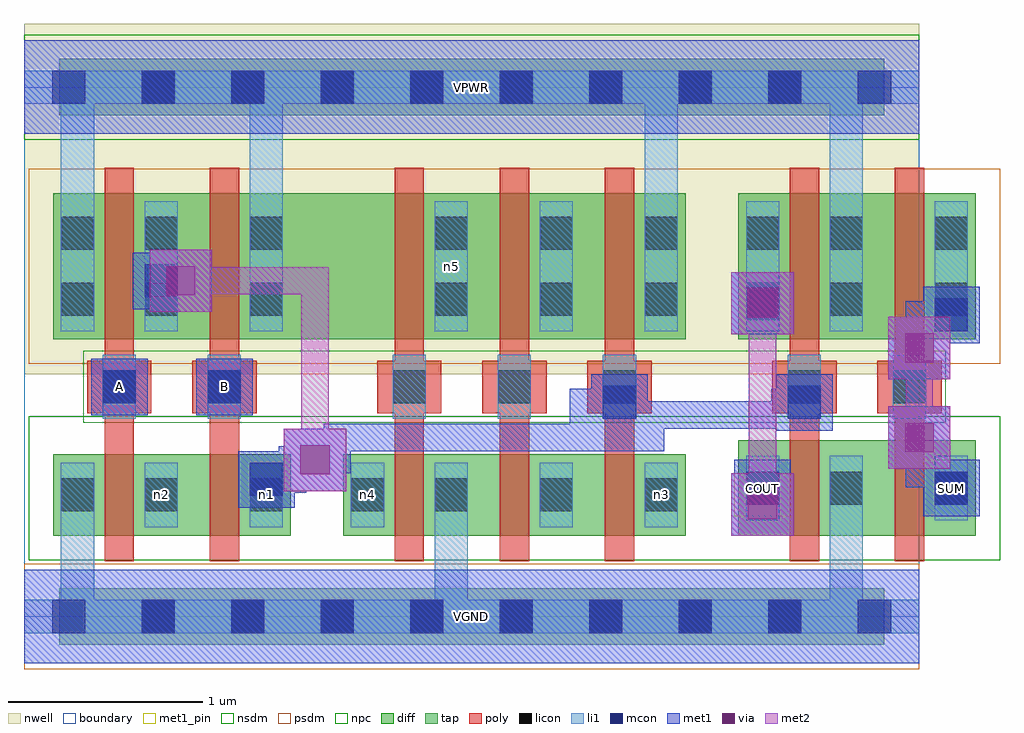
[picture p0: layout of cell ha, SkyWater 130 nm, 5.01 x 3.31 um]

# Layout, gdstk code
import gdstk
lib = gdstk.Library(unit=1e-6, precision=1e-09)
def R(c, l, rs):  # rectangles x0, y0, x1, y1
    for r in rs: c.add(gdstk.rectangle(r[:2], r[2:], *l))
def A(c, l, x, y, w, h, nx, ny, dx, dy):  # array of equal rectangles
    R(c, l, [(x+i*dx, y+j*dy, x+i*dx+w, y+j*dy+h) for i in range(nx) for j in range(ny)])
nwell = (64, 20)
diff = (65, 20)
tap = (65, 44)
poly = (66, 20)
licon = (66, 44)
li1 = (67, 20)
mcon = (67, 44)
met1_pin = (68, 16)
met1 = (68, 20)
via = (68, 44)
met2 = (69, 20)
nsdm = (93, 44)
psdm = (94, 20)
npc = (95, 20)
boundary = (235, 4)

c_ha = lib.new_cell('ha')
R(c_ha, nwell, [(0,1.245,4.6,3.045)])
R(c_ha, diff, [(0.15,0.415,1.37,0.835), (1.64,0.415,3.4,0.835), (3.67,0.415,4.89,0.905), (0.15,1.425,3.4,2.175), (3.67,1.425,4.89,2.175)])
R(c_ha, tap, [(0.18,-0.145,4.42,0.145), (0.18,2.575,4.42,2.865)])
A(c_ha, poly, 1.905, 0.285, 0.15, 2.02, 3, 1, 0.54, 0)
A(c_ha, poly, 1.815, 1.045, 0.33, 0.27, 3, 1, 0.54, 0)
R(c_ha, poly, [(0.415,0.285,0.565,2.305), (0.955,0.285,1.105,2.305), (3.935,0.285,4.085,2.305), (4.475,0.285,4.625,2.305), (0.325,1.045,0.655,1.315), (0.865,1.045,1.195,1.315), (3.845,1.045,4.175,1.315), (4.385,1.045,4.715,1.315)])
A(c_ha, licon, 0.605, -0.085, 0.17, 0.17, 8, 2, 0.46, 2.72)
A(c_ha, licon, 2.11, 0.54, 0.17, 0.17, 3, 2, 0.54, 1.005)
A(c_ha, licon, 1.895, 1.095, 0.17, 0.17, 3, 1, 0.54, 0)
A(c_ha, licon, 2.11, 1.885, 0.17, 0.17, 3, 1, 0.54, 0)
R(c_ha, licon, [(0.19,0.54,0.36,0.71), (0.62,0.54,0.79,0.71), (1.16,0.54,1.33,0.71), (1.68,0.54,1.85,0.71), (3.71,0.575,3.88,0.745), (4.14,0.575,4.31,0.745), (4.68,0.575,4.85,0.745), (0.405,1.095,0.575,1.265), (0.945,1.095,1.115,1.265), (3.925,1.095,4.095,1.265), (4.465,1.095,4.635,1.265), (0.19,1.545,0.36,1.715), (0.62,1.545,0.79,1.715), (1.16,1.545,1.33,1.715), (3.71,1.545,3.88,1.715), (4.14,1.545,4.31,1.715), (4.68,1.545,4.85,1.715), (0.19,1.885,0.36,2.055), (0.62,1.885,0.79,2.055), (1.16,1.885,1.33,2.055), (3.71,1.885,3.88,2.055), (4.14,1.885,4.31,2.055), (4.68,1.885,4.85,2.055)])
A(c_ha, li1, 2.11, 0.46, 0.17, 0.33, 3, 1, 0.54, 0)
A(c_ha, li1, 1.895, 1.015, 0.17, 0.33, 3, 1, 0.54, 0)
A(c_ha, li1, 2.11, 1.465, 0.17, 0.67, 3, 1, 0.54, 0)
R(c_ha, li1, [(0,-0.085,4.6,0.085), (0.19,-0.085,0.36,0.79), (2.11,-0.085,2.28,0.79), (4.14,-0.085,4.31,0.825), (0.19,0.46,0.36,0.79), (0.62,0.46,0.79,0.79), (1.16,0.46,1.33,0.79), (1.68,0.46,1.85,0.79), (3.71,0.495,3.88,0.825), (4.14,0.495,4.31,0.825), (4.68,0.495,4.85,0.825), (0.405,1.015,0.575,1.345), (0.945,1.015,1.115,1.345), (3.925,1.015,4.095,1.345), (4.465,1.015,4.635,1.345), (0.19,1.465,0.36,2.135), (0.19,1.465,0.36,2.805), (0.62,1.465,0.79,2.135), (1.16,1.465,1.33,2.135), (1.16,1.465,1.33,2.805), (3.19,1.465,3.36,2.805), (3.71,1.465,3.88,2.135), (4.14,1.465,4.31,2.135), (4.14,1.465,4.31,2.805), (4.68,1.465,4.85,2.135), (0,2.635,4.6,2.805)])
A(c_ha, mcon, 0.145, -0.085, 0.17, 0.17, 10, 2, 0.46, 2.72)
R(c_ha, mcon, [(3.71,0.575,3.88,0.745), (4.68,0.575,4.85,0.745), (1.16,0.62,1.33,0.79), (2.975,1.015,3.145,1.185), (3.925,1.015,4.095,1.185), (0.405,1.095,0.575,1.265), (0.945,1.095,1.115,1.265), (4.68,1.465,4.85,1.635), (3.71,1.525,3.88,1.695), (0.62,1.64,0.79,1.81)])
R(c_ha, met1_pin, [(0,-0.24,4.6,0.24), (3.65,0.515,3.94,0.805), (4.62,0.515,4.91,0.805), (0.345,1.035,0.635,1.325), (0.885,1.035,1.175,1.325), (0,2.48,4.6,2.96)])
R(c_ha, met1, [(0,-0.24,4.6,0.24), (3.635,0.415,3.955,0.735), (3.725,0.505,3.865,0.76), (3.65,0.515,3.94,0.805), (4.62,0.515,4.91,0.805), (1.1,0.56,1.39,0.85), (3.725,0.62,3.865,0.76), (1.175,0.635,1.45,0.775), (1.31,0.635,1.45,0.875), (1.335,0.645,1.655,0.965), (4.53,0.665,4.76,0.805), (4.53,0.665,4.67,0.99), (4.62,0.665,4.76,0.805), (1.31,0.735,1.68,0.875), (1.54,0.735,1.68,0.99), (4.44,0.76,4.76,1.08), (1.54,0.85,2.945,0.99), (2.805,0.85,2.945,1.17), (2.805,0.85,3.29,0.99), (3.15,0.85,3.29,1.105), (2.915,0.955,3.205,1.245), (3.865,0.955,4.155,1.245), (3.15,0.965,3.98,1.105), (3.84,0.965,3.98,1.17), (2.805,0.99,3.13,1.03), (2.805,1.03,3.13,1.17), (3.84,1.03,4.08,1.17), (0.345,1.035,0.635,1.325), (0.885,1.035,1.175,1.325), (4.44,1.22,4.76,1.54), (4.53,1.31,4.67,1.62), (4.62,1.405,4.91,1.695), (3.635,1.45,3.955,1.77), (3.65,1.465,3.94,1.755), (4.53,1.48,4.835,1.62), (0.645,1.565,0.965,1.885), (0.56,1.58,0.85,1.87), (0.635,1.655,0.875,1.795), (0,2.48,4.6,2.96)])
R(c_ha, via, [(3.72,0.5,3.87,0.65), (1.42,0.73,1.57,0.88), (4.525,0.845,4.675,0.995), (4.525,1.305,4.675,1.455), (3.72,1.535,3.87,1.685), (0.73,1.65,0.88,1.8)])
R(c_ha, met2, [(3.635,0.415,3.955,0.735), (3.725,0.505,3.865,1.68), (1.335,0.645,1.655,0.965), (1.425,0.735,1.565,1.795), (4.44,0.76,4.76,1.08), (4.53,0.85,4.67,1.45), (4.44,1.22,4.76,1.54), (3.635,1.45,3.955,1.77), (0.645,1.565,0.965,1.885), (0.735,1.655,1.565,1.795)])
R(c_ha, nsdm, [(0.025,0.29,5.015,1.03), (0,2.45,4.6,2.99)])
R(c_ha, psdm, [(0,-0.27,4.6,0.27), (0.025,1.3,5.015,2.3)])
R(c_ha, npc, [(0.305,0.995,4.735,1.365)])
R(c_ha, boundary, [(0,0,4.6,2.72)])
c_ha.add(gdstk.Label('n2', (0.705,0.625), layer=67, texttype=5))
c_ha.add(gdstk.Label('n1', (1.245,0.625), layer=67, texttype=5))
c_ha.add(gdstk.Label('n4', (1.765,0.625), layer=67, texttype=5))
c_ha.add(gdstk.Label('n3', (3.275,0.625), layer=67, texttype=5))
c_ha.add(gdstk.Label('n5', (2.195,1.8), layer=67, texttype=5))
c_ha.add(gdstk.Label('A', (0.49,1.18), layer=68, texttype=5))
c_ha.add(gdstk.Label('B', (1.03,1.18), layer=68, texttype=5))
c_ha.add(gdstk.Label('COUT', (3.795,0.66), layer=68, texttype=5))
c_ha.add(gdstk.Label('SUM', (4.765,0.66), layer=68, texttype=5))
c_ha.add(gdstk.Label('VPWR', (2.3,2.72), layer=68, texttype=5))
c_ha.add(gdstk.Label('VGND', (2.3,0), layer=68, texttype=5))
c_ha.add(gdstk.Label('A', (0.49,1.18), layer=68, texttype=16))
c_ha.add(gdstk.Label('B', (1.03,1.18), layer=68, texttype=16))
c_ha.add(gdstk.Label('COUT', (3.795,0.66), layer=68, texttype=16))
c_ha.add(gdstk.Label('SUM', (4.765,0.66), layer=68, texttype=16))
c_ha.add(gdstk.Label('VPWR', (2.3,2.72), layer=68, texttype=16))
c_ha.add(gdstk.Label('VGND', (2.3,0), layer=68, texttype=16))

lib.write_gds('ha.gds')
